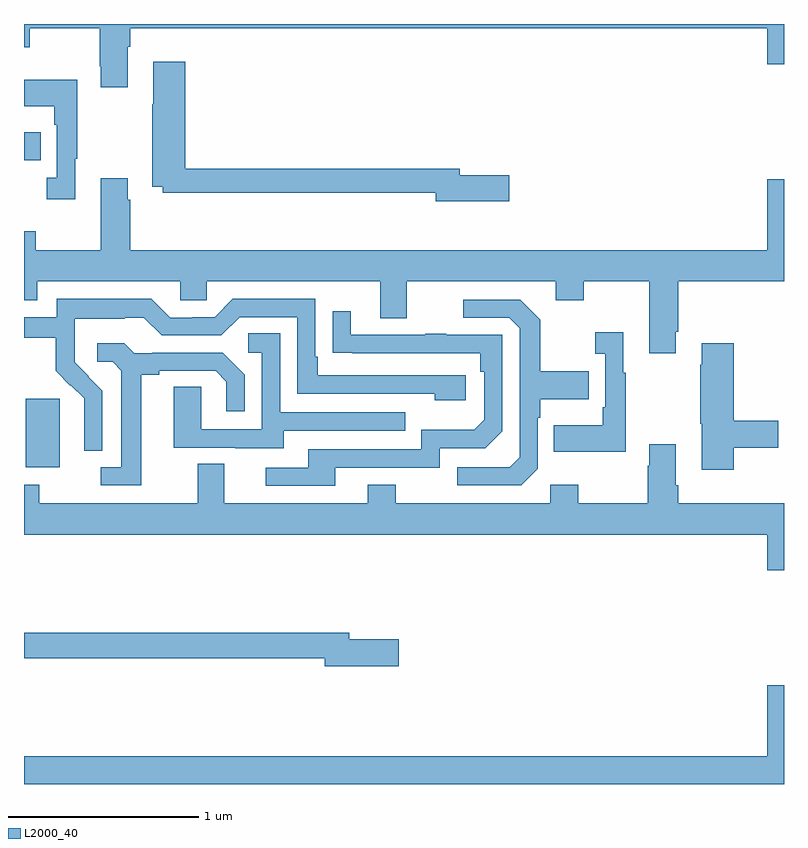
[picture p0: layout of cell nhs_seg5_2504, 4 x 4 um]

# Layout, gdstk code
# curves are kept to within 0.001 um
import gdstk
lib = gdstk.Library(unit=1e-6, precision=1e-09)
def R(c, l, rs):  # rectangles x0, y0, x1, y1
    for r in rs: c.add(gdstk.rectangle(r[:2], r[2:], *l))
def P(c, l, *ps):  # polygons
    for p in ps: c.add(gdstk.Polygon(p, *l))
L2000_40 = (2000, 40)

nhs_seg5_2504 = lib.new_cell('nhs_seg5_2504')
R(nhs_seg5_2504, L2000_40, [(257.009,838.466,257.188,838.827), (257,840.082,257.087,840.229)])
P(nhs_seg5_2504, L2000_40, [(257.545,840.68),(257.558,840.68),(257.558,840.776),(260.912,840.776),(260.912,840.588),(261,840.588),(261,840.799),(257,840.799),(257,840.677),(257.031,840.677),(257.031,840.776),(257.398,840.776),(257.398,840.577),(257.405,840.577),(257.405,840.465),(257.545,840.465)],
  [(259.555,840.002),(259.294,840.002),(259.294,840.038),(257.849,840.038),(257.849,840.601),(257.681,840.601),(257.681,840.377),(257.674,840.377),(257.674,839.942),(257.73,839.942),(257.73,839.91),(259.166,839.91),(259.166,839.867),(259.555,839.867)],
  [(257.269,840.089),(257.281,840.089),(257.281,840.505),(257,840.505),(257,840.365),(257.16,840.365),(257.16,840.269),(257.172,840.269),(257.172,839.99),(257.121,839.99),(257.121,839.877),(257.269,839.877)],
  [(260.431,839.179),(260.444,839.179),(260.444,839.444),(261,839.444),(261,839.983),(260.912,839.983),(260.912,839.608),(257.558,839.608),(257.558,839.873),(257.545,839.873),(257.545,839.986),(257.405,839.986),(257.405,839.608),(257.061,839.608),(257.061,839.707),(257,839.707),(257,839.345),(257.071,839.345),(257.071,839.444),(257.823,839.444),(257.823,839.346),(257.961,839.346),(257.961,839.444),(258.875,839.444),(258.875,839.25),(259.015,839.25),(259.015,839.444),(259.799,839.444),(259.799,839.345),(259.947,839.345),(259.947,839.444),(260.291,839.444),(260.291,839.067),(260.431,839.067)],
  [(257.412,838.87),(257.266,839.018),(257.266,839.115),(257.268,839.115),(257.268,839.249),(257.531,839.249),(257.531,839.253),(257.631,839.253),(257.724,839.16),(258.039,839.16),(258.135,839.256),(258.438,839.256),(258.438,838.854),(259.163,838.854),(259.163,838.82),(259.324,838.82),(259.324,838.95),(258.547,838.95),(258.547,839.047),(258.534,839.047),(258.534,839.352),(258.099,839.352),(258.003,839.256),(257.885,839.256),(257.885,839.253),(257.769,839.253),(257.669,839.353),(257.172,839.353),(257.172,839.256),(257,839.256),(257,839.148),(257.167,839.148),(257.167,838.973),(257.244,838.896),(257.247,838.899),(257.318,838.829),(257.318,838.706),(257.316,838.706),(257.316,838.552),(257.412,838.552)],
  [(259.704,838.458),(259.704,838.727),(259.717,838.727),(259.717,838.823),(259.973,838.823),(259.973,838.971),(259.717,838.971),(259.717,839.243),(259.611,839.349),(259.311,839.349),(259.311,839.253),(259.554,839.253),(259.608,839.199),(259.608,838.518),(259.557,838.467),(259.281,838.467),(259.281,838.371),(259.617,838.371)],
  [(258.637,838.464),(259.188,838.464),(259.188,838.566),(259.428,838.566),(259.518,838.656),(259.518,839.163),(259.223,839.163),(259.223,839.168),(259.111,839.168),(259.111,839.163),(258.721,839.163),(258.721,839.287),(258.625,839.287),(258.625,839.068),(259.402,839.067),(259.402,838.97),(259.422,838.97),(259.422,838.716),(259.369,838.663),(259.092,838.663),(259.092,838.56),(258.497,838.56),(258.497,838.464),(258.273,838.464),(258.273,838.368),(258.637,838.368)],
  [(260.166,838.963),(260.155,838.963),(260.155,839.176),(260.007,839.176),(260.007,839.063),(260.058,839.063),(260.058,838.783),(260.046,838.783),(260.046,838.687),(259.789,838.687),(259.789,838.547),(260.166,838.547)],
  [(258.367,838.659),(259.007,838.659),(259.007,838.755),(258.348,838.755),(258.348,839.171),(258.18,839.171),(258.18,839.07),(258.252,839.07),(258.252,838.665),(257.934,838.665),(257.934,838.889),(257.789,838.889),(257.789,838.569),(258.113,838.569),(258.113,838.565),(258.367,838.565)],
  [(260.735,838.57),(260.971,838.57),(260.971,838.712),(260.735,838.712),(260.735,839.119),(260.567,839.119),(260.567,839.006),(260.56,839.006),(260.56,838.695),(260.567,838.695),(260.567,838.452),(260.735,838.452)],
  [(257.617,838.952),(257.713,838.952),(257.713,838.974),(258.008,838.974),(258.065,838.917),(258.065,838.761),(258.162,838.761),(258.162,838.954),(258.046,839.07),(257.674,839.07),(257.674,839.067),(257.58,839.067),(257.528,839.119),(257.385,839.119),(257.385,839.022),(257.466,839.022),(257.513,838.975),(257.513,838.467),(257.403,838.467),(257.403,838.371),(257.617,838.371)],
  [(261,838.276),(260.444,838.276),(260.444,838.372),(260.431,838.372),(260.431,838.588),(260.291,838.588),(260.291,838.475),(260.284,838.475),(260.284,838.276),(259.916,838.276),(259.916,838.375),(259.77,838.375),(259.77,838.276),(258.957,838.276),(258.957,838.375),(258.809,838.375),(258.809,838.276),(258.055,838.276),(258.055,838.484),(257.915,838.484),(257.915,838.276),(257.079,838.276),(257.079,838.375),(257,838.375),(257,838.112),(260.912,838.112),(260.912,837.924),(261,837.924)],
  [(258.973,837.56),(258.712,837.56),(258.712,837.596),(257,837.596),(257,837.46),(258.584,837.46),(258.584,837.418),(258.973,837.418)],
  [(261,837.319),(260.912,837.319),(260.912,836.944),(257,836.944),(257,836.799),(261,836.799)])

lib.write_gds('nhs_seg5_2504.gds')
